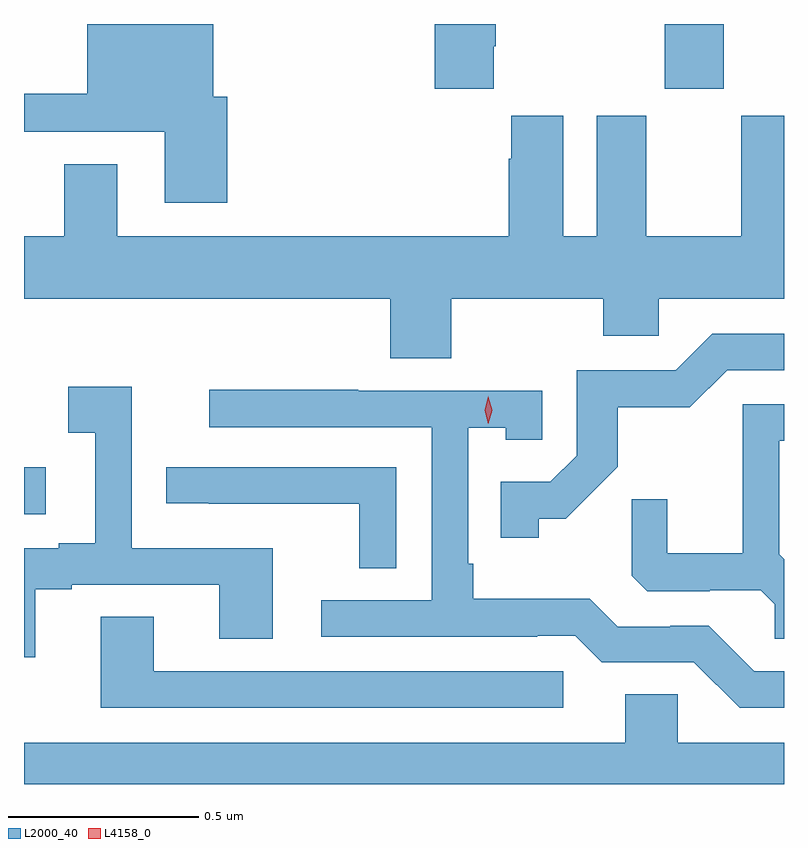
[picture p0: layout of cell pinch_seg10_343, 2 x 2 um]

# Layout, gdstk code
import gdstk
lib = gdstk.Library(unit=1e-6, precision=1e-09)
def R(c, l, rs):  # rectangles x0, y0, x1, y1
    for r in rs: c.add(gdstk.rectangle(r[:2], r[2:], *l))
def P(c, l, *ps):  # polygons
    for p in ps: c.add(gdstk.Polygon(p, *l))
L2000_40 = (2000, 40)
L4158_0 = (4158, 0)

pinch_seg10_343 = lib.new_cell('pinch_seg10_343')
R(pinch_seg10_343, L2000_40, [(492.841,1285.097,492.898,1285.221), (494.527,1286.217,494.682,1286.387)])
P(pinch_seg10_343, L2000_40, [(494.077,1286.329),(494.082,1286.329),(494.082,1286.387),(493.922,1286.387),(493.922,1286.217),(494.077,1286.217)],
  [(493.376,1286.196),(493.339,1286.196),(493.339,1286.387),(493.007,1286.387),(493.007,1286.204),(492.841,1286.204),(492.841,1286.103),(493.211,1286.103),(493.211,1285.917),(493.376,1285.917)],
  [(494.479,1286.146),(494.348,1286.146),(494.348,1285.828),(494.26,1285.828),(494.26,1286.146),(494.123,1286.146),(494.123,1286.033),(494.117,1286.033),(494.117,1285.828),(493.087,1285.828),(493.087,1286.018),(492.947,1286.018),(492.947,1285.828),(492.841,1285.828),(492.841,1285.664),(493.805,1285.664),(493.805,1285.507),(493.965,1285.507),(493.965,1285.664),(494.365,1285.664),(494.365,1285.566),(494.511,1285.566),(494.511,1285.664),(494.841,1285.664),(494.841,1286.146),(494.729,1286.146),(494.729,1285.828),(494.479,1285.828)],
  [(494.196,1285.085),(494.266,1285.085),(494.404,1285.222),(494.404,1285.378),(494.593,1285.378),(494.691,1285.476),(494.841,1285.476),(494.841,1285.572),(494.652,1285.572),(494.556,1285.476),(494.295,1285.476),(494.295,1285.251),(494.226,1285.182),(494.095,1285.182),(494.095,1285.035),(494.196,1285.035)],
  [(492.871,1284.9),(492.967,1284.9),(492.967,1284.912),(493.355,1284.912),(493.355,1284.769),(493.495,1284.769),(493.495,1285.008),(493.125,1285.008),(493.125,1285.432),(492.957,1285.432),(492.957,1285.312),(493.028,1285.312),(493.028,1285.021),(492.932,1285.021),(492.932,1285.008),(492.841,1285.008),(492.841,1284.72),(492.871,1284.72)],
  [(494.841,1284.684),(494.763,1284.684),(494.643,1284.804),(494.542,1284.804),(494.542,1284.801),(494.403,1284.801),(494.33,1284.874),(494.023,1284.874),(494.023,1284.967),(494.01,1284.967),(494.01,1285.325),(494.109,1285.325),(494.109,1285.293),(494.205,1285.293),(494.205,1285.422),(493.721,1285.422),(493.721,1285.425),(493.329,1285.425),(493.329,1285.326),(493.914,1285.326),(493.914,1284.87),(493.623,1284.87),(493.623,1284.774),(494.192,1284.774),(494.192,1284.777),(494.292,1284.777),(494.361,1284.708),(494.604,1284.708),(494.724,1284.588),(494.841,1284.588)],
  [(494.841,1284.979),(494.829,1284.991),(494.829,1285.29),(494.841,1285.29),(494.841,1285.386),(494.732,1285.386),(494.732,1284.994),(494.534,1284.994),(494.534,1285.137),(494.44,1285.137),(494.44,1284.935),(494.481,1284.894),(494.646,1284.894),(494.646,1284.897),(494.78,1284.897),(494.817,1284.86),(494.817,1284.769),(494.841,1284.769)],
  [(493.821,1285.221),(493.215,1285.221),(493.215,1285.126),(493.327,1285.126),(493.327,1285.125),(493.723,1285.125),(493.723,1284.955),(493.821,1284.955)],
  [(494.26,1284.684),(493.183,1284.684),(493.183,1284.827),(493.043,1284.827),(493.043,1284.588),(494.26,1284.588)],
  [(494.841,1284.496),(494.562,1284.496),(494.562,1284.623),(494.423,1284.623),(494.423,1284.496),(492.841,1284.496),(492.841,1284.387),(494.841,1284.387)])
P(pinch_seg10_343, L4158_0, [(494.063,1285.335),(494.063,1285.335),(494.053,1285.371),(494.063,1285.406),(494.063,1285.407),(494.063,1285.406),(494.073,1285.371),(494.063,1285.335)])

lib.write_gds('pinch_seg10_343.gds')
